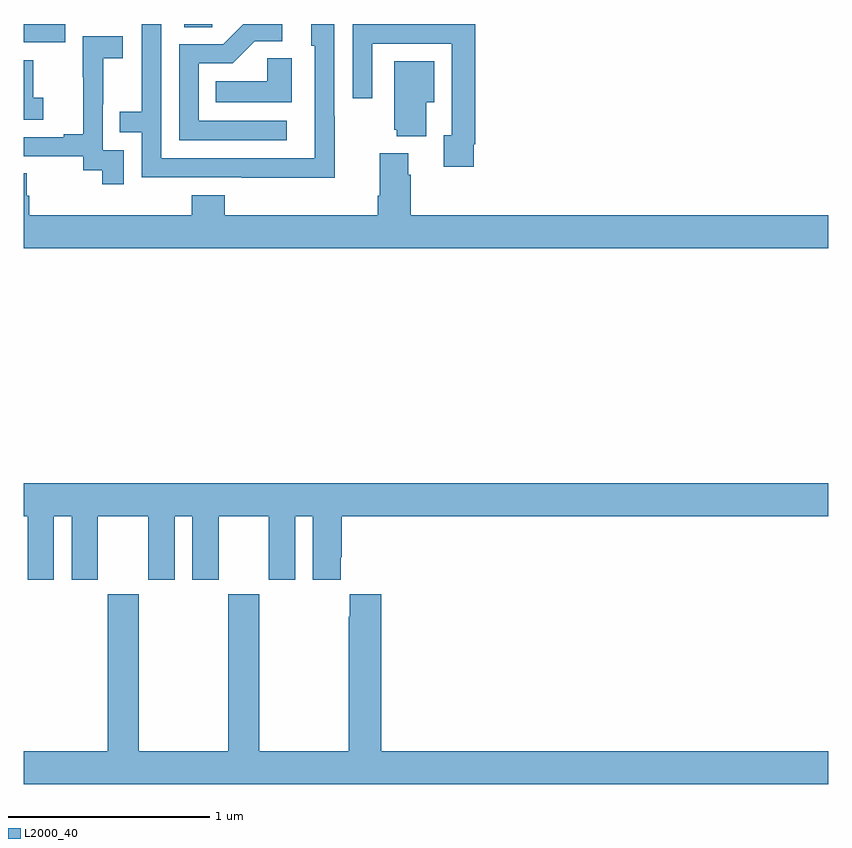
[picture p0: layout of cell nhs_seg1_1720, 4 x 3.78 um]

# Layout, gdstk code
import gdstk
lib = gdstk.Library(unit=1e-6, precision=1e-09)
def R(c, l, rs):  # rectangles x0, y0, x1, y1
    for r in rs: c.add(gdstk.rectangle(r[:2], r[2:], *l))
def P(c, l, *ps):  # polygons
    for p in ps: c.add(gdstk.Polygon(p, *l))
L2000_40 = (2000, 40)

nhs_seg1_1720 = lib.new_cell('nhs_seg1_1720')
R(nhs_seg1_1720, L2000_40, [(205,534.108,205.206,534.199), (205.799,534.184,205.938,534.199)])
P(nhs_seg1_1720, L2000_40, [(206.547,533.741),(206.544,533.741),(206.544,534.199),(206.429,534.199),(206.429,534.09),(206.448,534.09),(206.448,533.532),(205.683,533.532),(205.683,534.199),(205.587,534.199),(205.587,533.762),(205.477,533.762),(205.477,533.661),(205.587,533.661),(205.587,533.436),(206.083,533.436),(206.083,533.435),(206.547,533.435)],
  [(206.308,533.718),(205.869,533.718),(205.869,534.003),(206.038,534.003),(206.149,534.114),(206.284,534.114),(206.284,534.199),(206.092,534.199),(205.992,534.099),(205.773,534.099),(205.773,533.622),(206.308,533.622)],
  [(207.238,533.602),(207.245,533.602),(207.245,534.199),(206.953,534.199),(206.953,534.198),(206.637,534.198),(206.637,533.829),(206.733,533.829),(206.733,534.102),(207.129,534.102),(207.129,533.646),(207.089,533.646),(207.089,533.49),(207.238,533.49)],
  [(205.497,533.571),(205.392,533.571),(205.392,533.801),(205.394,533.801),(205.394,534.029),(205.492,534.029),(205.492,534.139),(205.294,534.139),(205.294,533.933),(205.295,533.933),(205.295,533.65),(205.199,533.65),(205.199,533.637),(205,533.637),(205,533.541),(205.296,533.541),(205.296,533.473),(205.389,533.473),(205.389,533.403),(205.497,533.403)],
  [(206.332,534.029),(206.211,534.029),(206.211,533.914),(205.954,533.914),(205.954,533.81),(206.332,533.81)],
  [(205.096,533.833),(205.047,533.833),(205.047,534.018),(205,534.018),(205,533.724),(205.096,533.724)],
  [(207.001,533.81),(207.04,533.81),(207.04,534.013),(206.843,534.013),(206.843,533.673),(206.855,533.673),(206.855,533.642),(207.001,533.642)],
  [(209,533.248),(206.924,533.248),(206.924,533.45),(206.911,533.45),(206.911,533.557),(206.771,533.557),(206.771,533.344),(206.759,533.344),(206.759,533.248),(206,533.248),(206,533.347),(205.835,533.347),(205.835,533.248),(205.028,533.248),(205.028,533.346),(205.015,533.346),(205.015,533.456),(205,533.456),(205,533.084),(209,533.084)],
  [(205.15,531.752),(205.238,531.752),(205.238,531.435),(205.369,531.435),(205.369,531.752),(205.619,531.752),(205.619,531.435),(205.75,531.435),(205.75,531.752),(205.838,531.752),(205.838,531.435),(205.969,531.435),(205.969,531.752),(206.219,531.752),(206.219,531.435),(206.35,531.435),(206.35,531.752),(206.438,531.752),(206.438,531.435),(206.575,531.435),(206.575,531.547),(206.582,531.547),(206.582,531.752),(209,531.752),(209,531.916),(205,531.916),(205,531.752),(205.019,531.752),(205.019,531.435),(205.15,531.435)],
  [(209,530.584),(206.777,530.584),(206.777,531.364),(206.621,531.364),(206.621,531.251),(206.617,531.251),(206.617,530.584),(206.172,530.584),(206.172,531.364),(206.017,531.364),(206.017,530.584),(205.572,530.584),(205.572,531.364),(205.417,531.364),(205.417,530.584),(205,530.584),(205,530.42),(209,530.42)])

lib.write_gds('nhs_seg1_1720.gds')
